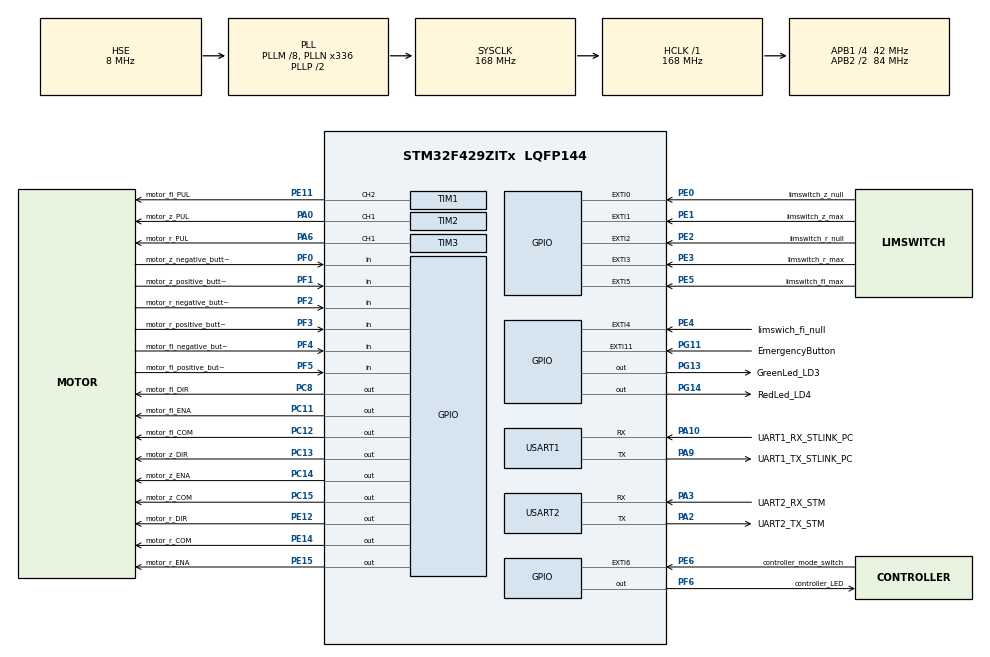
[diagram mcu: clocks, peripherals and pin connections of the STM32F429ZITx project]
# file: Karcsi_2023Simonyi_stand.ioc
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FREERTOS.INCLUDE_vTaskDelayUntil=1
FREERTOS.Queues01=demoMove_positions,15,ToolPosition,0,Dynamic,NULL,NULL
FREERTOS.Tasks01=indicator_blinking,3,256,fc_indicator_blinking,Default,(&error_byte),Dynamic,NULL,NULL;control_viaGPIO,3,2048,fc_control_viaGPIO,Default,stepperMotors,Dynamic,NULL,NULL;demoMove,3,2048,fc_demoMove,Default,stepperMotors,Dynamic,NULL,NULL
FREERTOS.configCHECK_FOR_STACK_OVERFLOW=2
FREERTOS.configMAX_TASK_NAME_LEN=255
FREERTOS.configTOTAL_HEAP_SIZE=32768
FREERTOS.configUSE_APPLICATION_TASK_TAG=1
FREERTOS.configUSE_COUNTING_SEMAPHORES=1
FREERTOS.configUSE_IDLE_HOOK=1
FREERTOS.configUSE_MALLOC_FAILED_HOOK=1
FREERTOS.configUSE_RECURSIVE_MUTEXES=1
FREERTOS.configUSE_TIMERS=0
Mcu.Family=STM32F4
Mcu.Name=STM32F429ZITx
Mcu.Package=LQFP144
NVIC.EXTI0_IRQn=true\:5\:0\:false\:false\:true\:true\:true\:true\:true
NVIC.EXTI15_10_IRQn=true\:5\:0\:false\:false\:true\:true\:true\:true\:true
NVIC.EXTI1_IRQn=true\:5\:0\:false\:false\:true\:true\:true\:true\:true
NVIC.EXTI2_IRQn=true\:5\:0\:false\:false\:true\:true\:true\:true\:true
NVIC.EXTI3_IRQn=true\:5\:0\:false\:false\:true\:true\:true\:true\:true
NVIC.EXTI4_IRQn=true\:5\:0\:false\:false\:true\:true\:true\:true\:true
NVIC.EXTI9_5_IRQn=true\:5\:0\:false\:false\:true\:true\:true\:true\:true
NVIC.PriorityGroup=NVIC_PRIORITYGROUP_4
NVIC.TIM1_BRK_TIM9_IRQn=true\:5\:0\:false\:false\:true\:true\:true\:true\:true
NVIC.TIM1_CC_IRQn=true\:5\:0\:false\:false\:true\:true\:true\:true\:true
NVIC.TIM1_TRG_COM_TIM11_IRQn=true\:5\:0\:false\:false\:true\:true\:true\:true\:true
NVIC.TIM1_UP_TIM10_IRQn=true\:5\:0\:false\:false\:true\:true\:true\:true\:true
NVIC.TIM2_IRQn=true\:5\:0\:false\:false\:true\:true\:true\:true\:true
NVIC.TIM3_IRQn=true\:5\:0\:false\:false\:true\:true\:true\:true\:true
NVIC.TIM6_DAC_IRQn=true\:15\:0\:false\:false\:true\:false\:false\:true\:true
NVIC.TimeBase=TIM6_DAC_IRQn
NVIC.TimeBaseIP=TIM6
PA0/WKUP.GPIO_Label=motor_z_PUL
PA0/WKUP.Signal=S_TIM2_CH1_ETR
PA10.GPIO_Label=UART1_RX_STLINK_PC
PA10.Mode=Asynchronous
PA10.Signal=USART1_RX
PA2.GPIO_Label=UART2_TX_STM
PA2.GPIO_Speed=GPIO_SPEED_FREQ_VERY_HIGH
PA2.Mode=Multiprocessor_communication
PA2.Signal=USART2_TX
PA3.GPIO_Label=UART2_RX_STM
PA3.Mode=Multiprocessor_communication
PA3.Signal=USART2_RX
PA6.GPIO_Label=motor_r_PUL
PA6.Signal=S_TIM3_CH1
PA9.GPIO_Label=UART1_TX_STLINK_PC
PA9.Mode=Asynchronous
PA9.Signal=USART1_TX
PC11.GPIO_Label=motor_fi_ENA
PC11.Signal=GPIO_Output
PC12.GPIO_Label=motor_fi_COM
PC12.Signal=GPIO_Output
PC13.GPIO_Label=motor_z_DIR
PC13.Signal=GPIO_Output
PC14/OSC32_IN.GPIO_Label=motor_z_ENA
PC14/OSC32_IN.Signal=GPIO_Output
PC15/OSC32_OUT.GPIO_Label=motor_z_COM
PC15/OSC32_OUT.Signal=GPIO_Output
PC8.GPIO_Label=motor_fi_DIR
PC8.Signal=GPIO_Output
PE0.GPIO_Label=limswitch_z_null
PE0.GPIO_ModeDefaultEXTI=GPIO_MODE_IT_RISING_FALLING
PE0.GPIO_PuPd=GPIO_PULLDOWN
PE0.Signal=GPXTI0
PE1.GPIO_Label=limswitch_z_max
PE1.GPIO_ModeDefaultEXTI=GPIO_MODE_IT_RISING_FALLING
PE1.GPIO_PuPd=GPIO_PULLDOWN
PE1.Signal=GPXTI1
PE11.GPIO_Label=motor_fi_PUL
PE11.GPIO_Speed=GPIO_SPEED_FREQ_HIGH
PE11.Signal=S_TIM1_CH2
PE12.GPIO_Label=motor_r_DIR
PE12.Signal=GPIO_Output
PE14.GPIO_Label=motor_r_COM
PE14.Signal=GPIO_Output
PE15.GPIO_Label=motor_r_ENA
PE15.Signal=GPIO_Output
PE2.GPIO_Label=limswitch_r_null
PE2.GPIO_ModeDefaultEXTI=GPIO_MODE_IT_RISING_FALLING
PE2.GPIO_PuPd=GPIO_PULLDOWN
PE2.Signal=GPXTI2
PE3.GPIO_Label=limswitch_r_max
PE3.GPIO_ModeDefaultEXTI=GPIO_MODE_IT_RISING_FALLING
PE3.GPIO_PuPd=GPIO_PULLDOWN
PE3.Signal=GPXTI3
PE4.GPIO_Label=limswich_fi_null
PE4.GPIO_ModeDefaultEXTI=GPIO_MODE_IT_RISING_FALLING
PE4.GPIO_PuPd=GPIO_PULLDOWN
PE4.Signal=GPXTI4
PE5.GPIO_Label=limswitch_fi_max
PE5.GPIO_ModeDefaultEXTI=GPIO_MODE_IT_RISING_FALLING
PE5.GPIO_PuPd=GPIO_PULLDOWN
PE5.Signal=GPXTI5
PE6.GPIO_Label=controller_mode_switch
PE6.GPIO_ModeDefaultEXTI=GPIO_MODE_IT_RISING
PE6.GPIO_PuPd=GPIO_PULLDOWN
PE6.Signal=GPXTI6
PF0.GPIO_Label=motor_z_negative_button
PF0.GPIO_PuPd=GPIO_PULLDOWN
PF0.Signal=GPIO_Input
PF1.GPIO_Label=motor_z_positive_button
PF1.GPIO_PuPd=GPIO_PULLDOWN
PF1.Signal=GPIO_Input
PF2.GPIO_Label=motor_r_negative_button
PF2.GPIO_PuPd=GPIO_PULLDOWN
PF2.Signal=GPIO_Input
PF3.GPIO_Label=motor_r_positive_button
PF3.GPIO_PuPd=GPIO_PULLDOWN
PF3.Signal=GPIO_Input
PF4.GPIO_Label=motor_fi_negative_button
PF4.GPIO_PuPd=GPIO_PULLDOWN
PF4.Signal=GPIO_Input
PF5.GPIO_Label=motor_fi_positive_button
PF5.GPIO_PuPd=GPIO_PULLDOWN
PF5.Signal=GPIO_Input
PF6.GPIO_Label=controller_LED
PF6.GPIO_ModeDefaultOutputPP=GPIO_MODE_OUTPUT_PP
PF6.GPIO_PuPd=GPIO_NOPULL
PF6.GPIO_Speed=GPIO_SPEED_FREQ_LOW
PF6.PinState=GPIO_PIN_RESET
PF6.Signal=GPIO_Output
PG11.GPIO_Label=EmergencyButton
PG11.GPIO_ModeDefaultEXTI=GPIO_MODE_IT_RISING_FALLING
PG11.Signal=GPXTI11
PG13.GPIO_Label=GreenLed_LD3
PG13.GPIO_Mode=GPIO_MODE_OUTPUT_PP
PG13.GPIO_PuPd=GPIO_PULLDOWN
PG13.GPIO_Speed=GPIO_SPEED_FREQ_LOW
PG13.Signal=GPIO_Output
PG14.GPIO_Label=RedLed_LD4
PG14.GPIO_Mode=GPIO_MODE_OUTPUT_PP
PG14.GPIO_PuPd=GPIO_PULLDOWN
PG14.GPIO_Speed=GPIO_SPEED_FREQ_LOW
PG14.Signal=GPIO_Output
PH0/OSC_IN.GPIO_Label=PH0-OSC_IN
PH0/OSC_IN.Mode=HSE-External-Oscillator
PH0/OSC_IN.Signal=RCC_OSC_IN
PH1/OSC_OUT.GPIO_Label=PH1-OSC_OUT
PH1/OSC_OUT.Mode=HSE-External-Oscillator
PH1/OSC_OUT.Signal=RCC_OSC_OUT
ProjectManager.HeapSize=0x200
ProjectManager.StackSize=0x400
ProjectManager.TargetToolchain=STM32CubeIDE
RCC.48MHZClocksFreq_Value=48000000
RCC.AHBFreq_Value=168000000
RCC.APB1CLKDivider=RCC_HCLK_DIV4
RCC.APB1Freq_Value=42000000
RCC.APB1TimFreq_Value=84000000
RCC.APB2CLKDivider=RCC_HCLK_DIV2
RCC.APB2Freq_Value=84000000
RCC.APB2TimFreq_Value=168000000
RCC.CortexFreq_Value=168000000
RCC.HCLKFreq_Value=168000000
RCC.HSE_VALUE=8000000
RCC.HSI_VALUE=16000000
RCC.LSE_VALUE=32768
RCC.PLLM=8
RCC.PLLN=336
RCC.PLLQ=7
RCC.PLLSAIN=50
RCC.PLLSourceVirtual=RCC_PLLSOURCE_HSE
RCC.SYSCLKFreq_VALUE=168000000
RCC.SYSCLKSource=RCC_SYSCLKSOURCE_PLLCLK
RCC.VCOOutputFreq_Value=336000000
SH.S_TIM1_CH2.0=TIM1_CH2,PWM Generation2 CH2
SH.S_TIM2_CH1_ETR.0=TIM2_CH1,PWM Generation1 CH1
SH.S_TIM3_CH1.0=TIM3_CH1,PWM Generation1 CH1
TIM1.Channel-PWM\ Generation2\ CH2=TIM_CHANNEL_2
TIM1.ClockDivision=TIM_CLOCKDIVISION_DIV1
TIM1.CounterMode=TIM_COUNTERMODE_UP
TIM1.OCMode_PWM-PWM\ Generation2\ CH2=TIM_OCMODE_PWM2
TIM1.Period=1000-1
TIM1.Prescaler=84-1
TIM1.Pulse-PWM\ Generation2\ CH2=499
TIM1.RepetitionCounter=0
TIM1.TIM_MasterOutputTrigger=TIM_TRGO_RESET
TIM2.Channel-PWM\ Generation1\ CH1=TIM_CHANNEL_1
TIM2.CounterMode=TIM_COUNTERMODE_UP
TIM2.OCMode_PWM-PWM\ Generation1\ CH1=TIM_OCMODE_PWM2
TIM2.Period=1000-1
TIM2.Prescaler=84-1
TIM2.Pulse-PWM\ Generation1\ CH1=499
TIM2.TIM_MasterOutputTrigger=TIM_TRGO_RESET
TIM3.Channel-PWM\ Generation1\ CH1=TIM_CHANNEL_1
TIM3.OCMode_PWM-PWM\ Generation1\ CH1=TIM_OCMODE_PWM2
TIM3.Period=1000-1
TIM3.Prescaler=168-1
TIM3.Pulse-PWM\ Generation1\ CH1=499
USART1.VirtualMode=VM_ASYNC
USART2.VirtualMode=VM_ASYNC
VP_FREERTOS_VS_CMSIS_V1.Mode=CMSIS_V1
VP_SYS_VS_tim6.Mode=TIM6
VP_TIM1_VS_ClockSourceINT.Mode=Internal
VP_TIM2_VS_ClockSourceINT.Mode=Internal
VP_TIM3_VS_ClockSourceINT.Mode=Internal
board=STM32F429I-DISC1

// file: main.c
/* USER CODE BEGIN Header */
/**
  ******************************************************************************
  * @file           : main.c
  * @brief          : Main program body
  ******************************************************************************
  *
  ******************************************************************************
  */
/* USER CODE END Header */
#include "main.h"
#include "cmsis_os.h"

/* USER CODE BEGIN Includes */
#include "StepperMotorControll.h"
#include <math.h>
/* USER CODE END Includes */

/* USER CODE BEGIN PD */

/**
 * Defines for indexing limit_switches[] array
 */
#define fi_max 1
#define fi_null 2
#define z_max 3
#define z_null 4
#define r_max 5
#define r_null 6

/* USER CODE END PD */

TIM_HandleTypeDef htim1;
TIM_HandleTypeDef htim2;
TIM_HandleTypeDef htim3;

UART_HandleTypeDef huart1;
UART_HandleTypeDef huart2;

osThreadId indicator_blinkingHandle;
osThreadId control_viaGPIOHandle;
osThreadId demoMoveHandle;
osMessageQId demoMove_positionsHandle;
/* USER CODE BEGIN PV */

/**
 * Array that contains the motor structs, offers easy acccess to motor variables
 */
static StepperMotor stepperMotors[NUMBER_OF_MOTORS];

/**
 * Pinstates of the limit switches:
 * limit_switches[0] : NOT IN USE, because of tricky indexing
 * limit_switches[1] : switch at the FI axis' maximum point (rotated all the way clockwise)
 * limit_switches[2] : switch at the FI axis' zero point (when the arm is rotated all the way counter-clockwise)
 * limit_switches[3] : switch at the Z axis' maximum point (lower sitch on the Z axis)
 * limit_switches[4] : switch at the Z axis' zero point (upper switch on the Z axis)
 * limit_switches[5] : switch at the R axis' maximum point (the arm reaches the furthest)
 * limit_switches[6] : switch at the R axis' zero ponit (when the arm is fully retracted)
 */
static volatile GPIO_PinState limit_switches[7];

/**
 * In the beginning of the two tasks there is a HOMING section.
 * In this section all of the motors has been set to negative direction and has been started to reach the (0, 0, 0) point
 * of the coordinate system. If a problem occours while starting the motors this variable gets the error value.
 * Indicator_blinking task starts to blink a red LED on the board if this variable isn't zero in order to inform you about the problem.
 */
static uint8_t error_byte = 0;

/**
 * This flag is true, if the HOMING has already run. Zero if HOMING is still needed.
 */
static uint8_t homing_state = 0;

static volatile ToolPosition current_position;

/**
 * Positions for demoMove task (Simonyi conference demo program)
 */
const ToolPosition Pos1 = (ToolPosition){.fi = 0, .z = 0, .r = 0};
const ToolPosition Pos2 = (ToolPosition){.fi = 4000, .z = 4000, .r = 400};
const ToolPosition Pos3 = (ToolPosition){.fi = 9000, .z = 7000, .r = 0};
const ToolPosition Pos4 = (ToolPosition){.fi = 13874, .z = 10000, .r = 900};
const ToolPosition Pos5 = (ToolPosition){.fi = 6000, .z = 5000, .r = 200};

/**
 * GPIO pin variables for control_viaGPIO task
 */
/*
GPIO_PIN r_positive_button = (GPIO_PIN){.GPIO_Port = motor_r_positive_button_GPIO_Port, .GPIO_Pin = motor_r_positive_button_Pin};
GPIO_PIN r_negative_button = (GPIO_PIN){.GPIO_Port = motor_r_negative_button_GPIO_Port, .GPIO_Pin = motor_r_negative_button_Pin};
GPIO_PIN fi_positive_button = (GPIO_PIN){.GPIO_Port = motor_fi_positive_button_GPIO_Port, .GPIO_Pin = motor_fi_positive_button_Pin};
GPIO_PIN fi_negative_button = (GPIO_PIN){.GPIO_Port = motor_fi_negative_button_GPIO_Port, .GPIO_Pin = motor_fi_negative_button_Pin};
GPIO_PIN z_positive_button = (GPIO_PIN){.GPIO_Port = motor_z_positive_button_GPIO_Port, .GPIO_Pin = motor_z_positive_button_Pin};
GPIO_PIN z_negative_button = (GPIO_PIN){.GPIO_Port = motor_z_negative_button_GPIO_Port, .GPIO_Pin = motor_z_negative_button_Pin};
*/

/**
 * Task flag to know which one is active right now:
 *  - ZERO: control_viaGPIO is active
 *  - ONE: demoMove is active
 */
static volatile uint8_t task_flag = 0;

/* USER CODE END PV */

void SystemClock_Config(void);
static void MX_GPIO_Init(void);
static void MX_USART1_UART_Init(void);
static void MX_TIM1_Init(void);
static void MX_USART2_UART_Init(void);
static void MX_TIM2_Init(void);
static void MX_TIM3_Init(void);
void fc_indicator_blinking(void const * argument);
void fc_control_viaGPIO(void const * argument);
void fc_demoMove(void const * argument);

int main(void)
{

  /* MCU Configuration--------------------------------------------------------*/

  /* Reset of all peripherals, Initializes the Flash interface and the Systick. */
  HAL_Init();

  /* Configure the system clock */
  SystemClock_Config();

  /* Initialize all configured peripherals */
  MX_GPIO_Init();
  MX_USART1_UART_Init();
  MX_TIM1_Init();
  MX_USART2_UART_Init();
  MX_TIM2_Init();
  MX_TIM3_Init();

  /* Create the queue(s) */
  /* definition and creation of demoMove_positions */
  osMessageQDef(demoMove_positions, 15, ToolPosition);
  demoMove_positionsHandle = osMessageCreate(osMessageQ(demoMove_positions), NULL);

  /* USER CODE BEGIN RTOS_QUEUES */

  //Push the demo positions in a queue
  xQueueSend(demoMove_positionsHandle, (void*)&Pos1, 0);
  xQueueSend(demoMove_positionsHandle, (void*)&Pos2, 0);
  xQueueSend(demoMove_positionsHandle, (void*)&Pos3, 0);
  xQueueSend(demoMove_positionsHandle, (void*)&Pos4, 0);
  xQueueSend(demoMove_positionsHandle, (void*)&Pos5, 0);
  /* USER CODE END RTOS_QUEUES */

  /* Create the thread(s) */
  /* definition and creation of indicator_blinking */
  osThreadDef(indicator_blinking, fc_indicator_blinking, osPriorityRealtime, 0, 256);
  indicator_blinkingHandle = osThreadCreate(osThread(indicator_blinking), (void*) (&error_byte));

  /* definition and creation of control_viaGPIO */
  osThreadDef(control_viaGPIO, fc_control_viaGPIO, osPriorityRealtime, 0, 2048);
  control_viaGPIOHandle = osThreadCreate(osThread(control_viaGPIO), (void*) stepperMotors);

  /* definition and creation of demoMove */
  osThreadDef(demoMove, fc_demoMove, osPriorityRealtime, 0, 2048);
  demoMoveHandle = osThreadCreate(osThread(demoMove), (void*) stepperMotors);

  /* USER CODE BEGIN RTOS_THREADS */

  //The program starts in GPIO control mode
  vTaskSuspend(demoMoveHandle);

  /* USER CODE END RTOS_THREADS */

  /* Start scheduler */
  osKernelStart();

  /* We should never get here as control is now taken by the scheduler */
  /* Infinite loop */
  while (1)
  {

  }
}

void SystemClock_Config(void)
{
  RCC_OscInitTypeDef RCC_OscInitStruct = {0};
  RCC_ClkInitTypeDef RCC_ClkInitStruct = {0};

  /** Configure the main internal regulator output voltage
  */
  __HAL_RCC_PWR_CLK_ENABLE();
  __HAL_PWR_VOLTAGESCALING_CONFIG(PWR_REGULATOR_VOLTAGE_SCALE1);

  /** Initializes the RCC Oscillators according to the specified parameters
  * in the RCC_OscInitTypeDef structure.
  */
  RCC_OscInitStruct.OscillatorType = RCC_OSCILLATORTYPE_HSE;
  RCC_OscInitStruct.HSEState = RCC_HSE_ON;
  RCC_OscInitStruct.PLL.PLLState = RCC_PLL_ON;
  RCC_OscInitStruct.PLL.PLLSource = RCC_PLLSOURCE_HSE;
  RCC_OscInitStruct.PLL.PLLM = 8;
  RCC_OscInitStruct.PLL.PLLN = 336;
  RCC_OscInitStruct.PLL.PLLP = RCC_PLLP_DIV2;
  RCC_OscInitStruct.PLL.PLLQ = 7;
  if (HAL_RCC_OscConfig(&RCC_OscInitStruct) != HAL_OK)
  {
    Error_Handler();
  }

  /** Initializes the CPU, AHB and APB buses clocks
  */
  RCC_ClkInitStruct.ClockType = RCC_CLOCKTYPE_HCLK|RCC_CLOCKTYPE_SYSCLK
                              |RCC_CLOCKTYPE_PCLK1|RCC_CLOCKTYPE_PCLK2;
  RCC_ClkInitStruct.SYSCLKSource = RCC_SYSCLKSOURCE_PLLCLK;
  RCC_ClkInitStruct.AHBCLKDivider = RCC_SYSCLK_DIV1;
  RCC_ClkInitStruct.APB1CLKDivider = RCC_HCLK_DIV4;
  RCC_ClkInitStruct.APB2CLKDivider = RCC_HCLK_DIV2;

  if (HAL_RCC_ClockConfig(&RCC_ClkInitStruct, FLASH_LATENCY_5) != HAL_OK)
  {
    Error_Handler();
  }
}

static void MX_TIM1_Init(void)
{

  TIM_ClockConfigTypeDef sClockSourceConfig = {0};
  TIM_MasterConfigTypeDef sMasterConfig = {0};
  TIM_OC_InitTypeDef sConfigOC = {0};
  TIM_BreakDeadTimeConfigTypeDef sBreakDeadTimeConfig = {0};

  htim1.Instance = TIM1;
  htim1.Init.Prescaler = 84-1;
  htim1.Init.CounterMode = TIM_COUNTERMODE_UP;
  htim1.Init.Period = 1000-1;
  htim1.Init.ClockDivision = TIM_CLOCKDIVISION_DIV1;
  htim1.Init.RepetitionCounter = 0;
  htim1.Init.AutoReloadPreload = TIM_AUTORELOAD_PRELOAD_DISABLE;
  if (HAL_TIM_Base_Init(&htim1) != HAL_OK)
  {
    Error_Handler();
  }
  sClockSourceConfig.ClockSource = TIM_CLOCKSOURCE_INTERNAL;
  if (HAL_TIM_ConfigClockSource(&htim1, &sClockSourceConfig) != HAL_OK)
  {
    Error_Handler();
  }
  if (HAL_TIM_PWM_Init(&htim1) != HAL_OK)
  {
    Error_Handler();
  }
  sMasterConfig.MasterOutputTrigger = TIM_TRGO_RESET;
  sMasterConfig.MasterSlaveMode = TIM_MASTERSLAVEMODE_DISABLE;
  if (HAL_TIMEx_MasterConfigSynchronization(&htim1, &sMasterConfig) != HAL_OK)
  {
    Error_Handler();
  }
  sConfigOC.OCMode = TIM_OCMODE_PWM2;
  sConfigOC.Pulse = 499;
  sConfigOC.OCPolarity = TIM_OCPOLARITY_HIGH;
  sConfigOC.OCNPolarity = TIM_OCNPOLARITY_HIGH;
  sConfigOC.OCFastMode = TIM_OCFAST_DISABLE;
  sConfigOC.OCIdleState = TIM_OCIDLESTATE_RESET;
  sConfigOC.OCNIdleState = TIM_OCNIDLESTATE_RESET;
  if (HAL_TIM_PWM_ConfigChannel(&htim1, &sConfigOC, TIM_CHANNEL_2) != HAL_OK)
  {
    Error_Handler();
  }
  sBreakDeadTimeConfig.OffStateRunMode = TIM_OSSR_DISABLE;
  sBreakDeadTimeConfig.OffStateIDLEMode = TIM_OSSI_DISABLE;
  sBreakDeadTimeConfig.LockLevel = TIM_LOCKLEVEL_OFF;
  sBreakDeadTimeConfig.DeadTime = 0;
  sBreakDeadTimeConfig.BreakState = TIM_BREAK_DISABLE;
  sBreakDeadTimeConfig.BreakPolarity = TIM_BREAKPOLARITY_HIGH;
  sBreakDeadTimeConfig.AutomaticOutput = TIM_AUTOMATICOUTPUT_DISABLE;
  if (HAL_TIMEx_ConfigBreakDeadTime(&htim1, &sBreakDeadTimeConfig) != HAL_OK)
  {
    Error_Handler();
  }
  HAL_TIM_MspPostInit(&htim1);

}

static void MX_TIM2_Init(void)
{

  TIM_ClockConfigTypeDef sClockSourceConfig = {0};
  TIM_MasterConfigTypeDef sMasterConfig = {0};
  TIM_OC_InitTypeDef sConfigOC = {0};

  htim2.Instance = TIM2;
  htim2.Init.Prescaler = 84-1;
  htim2.Init.CounterMode = TIM_COUNTERMODE_UP;
  htim2.Init.Period = 1000-1;
  htim2.Init.ClockDivision = TIM_CLOCKDIVISION_DIV1;
  htim2.Init.AutoReloadPreload = TIM_AUTORELOAD_PRELOAD_DISABLE;
  if (HAL_TIM_Base_Init(&htim2) != HAL_OK)
  {
    Error_Handler();
  }
  sClockSourceConfig.ClockSource = TIM_CLOCKSOURCE_INTERNAL;
  if (HAL_TIM_ConfigClockSource(&htim2, &sClockSourceConfig) != HAL_OK)
  {
    Error_Handler();
  }
  if (HAL_TIM_PWM_Init(&htim2) != HAL_OK)
  {
    Error_Handler();
  }
  sMasterConfig.MasterOutputTrigger = TIM_TRGO_RESET;
  sMasterConfig.MasterSlaveMode = TIM_MASTERSLAVEMODE_DISABLE;
  if (HAL_TIMEx_MasterConfigSynchronization(&htim2, &sMasterConfig) != HAL_OK)
  {
    Error_Handler();
  }
  sConfigOC.OCMode = TIM_OCMODE_PWM2;
  sConfigOC.Pulse = 499;
  sConfigOC.OCPolarity = TIM_OCPOLARITY_HIGH;
  sConfigOC.OCFastMode = TIM_OCFAST_DISABLE;
  if (HAL_TIM_PWM_ConfigChannel(&htim2, &sConfigOC, TIM_CHANNEL_1) != HAL_OK)
  {
    Error_Handler();
  }
  HAL_TIM_MspPostInit(&htim2);

}

static void MX_TIM3_Init(void)
{

  TIM_ClockConfigTypeDef sClockSourceConfig = {0};
  TIM_MasterConfigTypeDef sMasterConfig = {0};
  TIM_OC_InitTypeDef sConfigOC = {0};

  htim3.Instance = TIM3;
  htim3.Init.Prescaler = 168-1;
  htim3.Init.CounterMode = TIM_COUNTERMODE_UP;
  htim3.Init.Period = 1000-1;
  htim3.Init.ClockDivision = TIM_CLOCKDIVISION_DIV1;
  htim3.Init.AutoReloadPreload = TIM_AUTORELOAD_PRELOAD_DISABLE;
  if (HAL_TIM_Base_Init(&htim3) != HAL_OK)
  {
    Error_Handler();
  }
  sClockSourceConfig.ClockSource = TIM_CLOCKSOURCE_INTERNAL;
  if (HAL_TIM_ConfigClockSource(&htim3, &sClockSourceConfig) != HAL_OK)
  {
    Error_Handler();
  }
  if (HAL_TIM_PWM_Init(&htim3) != HAL_OK)
  {
    Error_Handler();
  }
  sMasterConfig.MasterOutputTrigger = TIM_TRGO_RESET;
  sMasterConfig.MasterSlaveMode = TIM_MASTERSLAVEMODE_DISABLE;
  if (HAL_TIMEx_MasterConfigSynchronization(&htim3, &sMasterConfig) != HAL_OK)
  {
    Error_Handler();
  }
  sConfigOC.OCMode = TIM_OCMODE_PWM2;
  sConfigOC.Pulse = 499;
  sConfigOC.OCPolarity = TIM_OCPOLARITY_HIGH;
  sConfigOC.OCFastMode = TIM_OCFAST_DISABLE;
  if (HAL_TIM_PWM_ConfigChannel(&htim3, &sConfigOC, TIM_CHANNEL_1) != HAL_OK)
  {
    Error_Handler();
  }
  HAL_TIM_MspPostInit(&htim3);

}

static void MX_USART1_UART_Init(void)
{

  huart1.Instance = USART1;
  huart1.Init.BaudRate = 115200;
  huart1.Init.WordLength = UART_WORDLENGTH_8B;
  huart1.Init.StopBits = UART_STOPBITS_1;
  huart1.Init.Parity = UART_PARITY_NONE;
  huart1.Init.Mode = UART_MODE_TX_RX;
  huart1.Init.HwFlowCtl = UART_HWCONTROL_NONE;
  huart1.Init.OverSampling = UART_OVERSAMPLING_16;
  if (HAL_UART_Init(&huart1) != HAL_OK)
  {
    Error_Handler();
  }

}

static void MX_USART2_UART_Init(void)
{

  huart2.Instance = USART2;
  huart2.Init.BaudRate = 115200;
  huart2.Init.WordLength = UART_WORDLENGTH_8B;
  huart2.Init.StopBits = UART_STOPBITS_1;
  huart2.Init.Parity = UART_PARITY_NONE;
  huart2.Init.Mode = UART_MODE_TX_RX;
  huart2.Init.HwFlowCtl = UART_HWCONTROL_NONE;
  huart2.Init.OverSampling = UART_OVERSAMPLING_16;
  if (HAL_MultiProcessor_Init(&huart2, 0, UART_WAKEUPMETHOD_IDLELINE) != HAL_OK)
  {
    Error_Handler();
  }

}

static void MX_GPIO_Init(void)
{
  GPIO_InitTypeDef GPIO_InitStruct = {0};

  /* GPIO Ports Clock Enable */
  __HAL_RCC_GPIOE_CLK_ENABLE();
  __HAL_RCC_GPIOC_CLK_ENABLE();
  __HAL_RCC_GPIOF_CLK_ENABLE();
  __HAL_RCC_GPIOH_CLK_ENABLE();
  __HAL_RCC_GPIOA_CLK_ENABLE();
  __HAL_RCC_GPIOG_CLK_ENABLE();

  /*Configure GPIO pin Output Level */
  HAL_GPIO_WritePin(GPIOC, motor_z_DIR_Pin|motor_z_ENA_Pin|motor_z_COM_Pin|motor_fi_DIR_Pin
                          |motor_fi_ENA_Pin|motor_fi_COM_Pin, GPIO_PIN_RESET);

  /*Configure GPIO pin Output Level */
  HAL_GPIO_WritePin(controller_LED_GPIO_Port, controller_LED_Pin, GPIO_PIN_RESET);

  /*Configure GPIO pin Output Level */
  HAL_GPIO_WritePin(GPIOE, motor_r_DIR_Pin|motor_r_COM_Pin|motor_r_ENA_Pin, GPIO_PIN_RESET);

  /*Configure GPIO pin Output Level */
  HAL_GPIO_WritePin(GPIOG, GreenLed_LD3_Pin|RedLed_LD4_Pin, GPIO_PIN_RESET);

  /*Configure GPIO pins : limswitch_r_null_Pin limswitch_r_max_Pin limswich_fi_null_Pin limswitch_fi_max_Pin
                           limswitch_z_null_Pin limswitch_z_max_Pin */
  GPIO_InitStruct.Pin = limswitch_r_null_Pin|limswitch_r_max_Pin|limswich_fi_null_Pin|limswitch_fi_max_Pin
                          |limswitch_z_null_Pin|limswitch_z_max_Pin;
  GPIO_InitStruct.Mode = GPIO_MODE_IT_RISING_FALLING;
  GPIO_InitStruct.Pull = GPIO_PULLDOWN;
  HAL_GPIO_Init(GPIOE, &GPIO_InitStruct);

  /*Configure GPIO pin : controller_mode_switch_Pin */
  GPIO_InitStruct.Pin = controller_mode_switch_Pin;
  GPIO_InitStruct.Mode = GPIO_MODE_IT_RISING;
  GPIO_InitStruct.Pull = GPIO_PULLDOWN;
  HAL_GPIO_Init(controller_mode_switch_GPIO_Port, &GPIO_InitStruct);

  /*Configure GPIO pins : motor_z_DIR_Pin motor_z_ENA_Pin motor_z_COM_Pin motor_fi_DIR_Pin
                           motor_fi_ENA_Pin motor_fi_COM_Pin */
  GPIO_InitStruct.Pin = motor_z_DIR_Pin|motor_z_ENA_Pin|motor_z_COM_Pin|motor_fi_DIR_Pin
                          |motor_fi_ENA_Pin|motor_fi_COM_Pin;
  GPIO_InitStruct.Mode = GPIO_MODE_OUTPUT_PP;
  GPIO_InitStruct.Pull = GPIO_NOPULL;
  GPIO_InitStruct.Speed = GPIO_SPEED_FREQ_LOW;
  HAL_GPIO_Init(GPIOC, &GPIO_InitStruct);

  /*Configure GPIO pins : motor_z_negative_button_Pin motor_z_positive_button_Pin motor_r_negative_button_Pin motor_r_positive_button_Pin
                           motor_fi_negative_button_Pin motor_fi_positive_button_Pin */
  GPIO_InitStruct.Pin = motor_z_negative_button_Pin|motor_z_positive_button_Pin|motor_r_negative_button_Pin|motor_r_positive_button_Pin
                          |motor_fi_negative_button_Pin|motor_fi_positive_button_Pin;
  GPIO_InitStruct.Mode = GPIO_MODE_INPUT;
  GPIO_InitStruct.Pull = GPIO_PULLDOWN;
  HAL_GPIO_Init(GPIOF, &GPIO_InitStruct);

  /*Configure GPIO pin : controller_LED_Pin */
  GPIO_InitStruct.Pin = controller_LED_Pin;
  GPIO_InitStruct.Mode = GPIO_MODE_OUTPUT_PP;
  GPIO_InitStruct.Pull = GPIO_NOPULL;
  GPIO_InitStruct.Speed = GPIO_SPEED_FREQ_LOW;
  HAL_GPIO_Init(controller_LED_GPIO_Port, &GPIO_InitStruct);

  /*Configure GPIO pins : motor_r_DIR_Pin motor_r_COM_Pin motor_r_ENA_Pin */
  GPIO_InitStruct.Pin = motor_r_DIR_Pin|motor_r_COM_Pin|motor_r_ENA_Pin;
  GPIO_InitStruct.Mode = GPIO_MODE_OUTPUT_PP;
  GPIO_InitStruct.Pull = GPIO_NOPULL;
  GPIO_InitStruct.Speed = GPIO_SPEED_FREQ_LOW;
  HAL_GPIO_Init(GPIOE, &GPIO_InitStruct);

  /*Configure GPIO pin : EmergencyButton_Pin */
  GPIO_InitStruct.Pin = EmergencyButton_Pin;
  GPIO_InitStruct.Mode = GPIO_MODE_IT_RISING_FALLING;
  GPIO_InitStruct.Pull = GPIO_NOPULL;
  HAL_GPIO_Init(EmergencyButton_GPIO_Port, &GPIO_InitStruct);

  /*Configure GPIO pins : GreenLed_LD3_Pin RedLed_LD4_Pin */
  GPIO_InitStruct.Pin = GreenLed_LD3_Pin|RedLed_LD4_Pin;
  GPIO_InitStruct.Mode = GPIO_MODE_OUTPUT_PP;
  GPIO_InitStruct.Pull = GPIO_PULLDOWN;
  GPIO_InitStruct.Speed = GPIO_SPEED_FREQ_LOW;
  HAL_GPIO_Init(GPIOG, &GPIO_InitStruct);

  /* EXTI interrupt init*/
  HAL_NVIC_SetPriority(EXTI0_IRQn, 5, 0);
  HAL_NVIC_EnableIRQ(EXTI0_IRQn);

  HAL_NVIC_SetPriority(EXTI1_IRQn, 5, 0);
  HAL_NVIC_EnableIRQ(EXTI1_IRQn);

  HAL_NVIC_SetPriority(EXTI2_IRQn, 5, 0);
  HAL_NVIC_EnableIRQ(EXTI2_IRQn);

  HAL_NVIC_SetPriority(EXTI3_IRQn, 5, 0);
  HAL_NVIC_EnableIRQ(EXTI3_IRQn);

  HAL_NVIC_SetPriority(EXTI4_IRQn, 5, 0);
  HAL_NVIC_EnableIRQ(EXTI4_IRQn);

  HAL_NVIC_SetPriority(EXTI9_5_IRQn, 5, 0);
  HAL_NVIC_EnableIRQ(EXTI9_5_IRQn);

  HAL_NVIC_SetPriority(EXTI15_10_IRQn, 5, 0);
  HAL_NVIC_EnableIRQ(EXTI15_10_IRQn);

}

/* USER CODE BEGIN 4 */
/*
 * In case of EXTI, one of the limit switches turn on which means the arm is on the edge.
 * To prevent further movement, the axis' motor turns off and stepperMotors[].currPos is updated.
 *
 * There is an exception though, when the mode button (the red button on the controller) triggers IT.
 * In this case the task_flag variable and the state of the LED on the controller toogles.
 * The LED is on when the demoMove task is active.
 */
void HAL_GPIO_EXTI_Callback(uint16_t GPIO_Pin){
	switch (GPIO_Pin){
		case controller_mode_switch_Pin:{
			if(task_flag){
				task_flag = 0;
				HAL_GPIO_WritePin(controller_LED_GPIO_Port, controller_LED_Pin, task_flag);
			}
			else{
				task_flag = 1;
				HAL_GPIO_WritePin(controller_LED_GPIO_Port, controller_LED_Pin, task_flag);
			}
		}
		case limswitch_z_null_Pin:{
			limit_switches[z_null] = HAL_GPIO_ReadPin(limswitch_z_null_GPIO_Port, limswitch_z_null_Pin);
			if(limit_switches[z_null]){
				current_position.z = 0;
				stepperMotors[MOTOR_Z_ID].allowedDir = MOTORALLOW_POSDIR;
			}
			else{
				stepperMotors[MOTOR_Z_ID].allowedDir = MOTORALLOW_BOTHDIR;
			}
			break;
		}
		case limswitch_z_max_Pin:{
			limit_switches[z_max] = HAL_GPIO_ReadPin(limswitch_z_max_GPIO_Port, limswitch_z_max_Pin);
			if(limit_switches[z_max]){
				current_position.z = MOTOR_Z_MAXPOS;
				stepperMotors[MOTOR_Z_ID].allowedDir = MOTORALLOW_NEGDIR;
			}
			else{
				stepperMotors[MOTOR_Z_ID].allowedDir = MOTORALLOW_BOTHDIR;
			}
			break;
		}
		case limswitch_r_null_Pin:{
			limit_switches[r_null] = HAL_GPIO_ReadPin(limswitch_r_null_GPIO_Port, limswitch_r_null_Pin);
			if(limit_switches[r_null]){
				current_position.r = 0;
				stepperMotors[MOTOR_R_ID].allowedDir = MOTORALLOW_POSDIR;
			}
			else{
				stepperMotors[MOTOR_R_ID].allowedDir = MOTORALLOW_BOTHDIR;
			}
			break;
		}
		case limswitch_r_max_Pin:{
			limit_switches[r_max] = HAL_GPIO_ReadPin(limswitch_r_max_GPIO_Port, limswitch_r_max_Pin);
			if(limit_switches[r_max]){
				current_position.r = MOTOR_R_MAXPOS;
				stepperMotors[MOTOR_R_ID].allowedDir = MOTORALLOW_NEGDIR;
			}
			else{
				stepperMotors[MOTOR_R_ID].allowedDir = MOTORALLOW_BOTHDIR;
			}
			break;
		}
		case limswich_fi_null_Pin:{
			limit_switches[fi_null] = HAL_GPIO_ReadPin(limswich_fi_null_GPIO_Port, limswich_fi_null_Pin);
			if(limit_switches[fi_null]){
				current_position.fi = 0;
				stepperMotors[MOTOR_FI_ID].allowedDir = MOTORALLOW_POSDIR;
			}
			else{
				stepperMotors[MOTOR_FI_ID].allowedDir = MOTORALLOW_BOTHDIR;
			}
			break;
		}
		case limswitch_fi_max_Pin:{
			limit_switches[fi_max] = HAL_GPIO_ReadPin(limswitch_fi_max_GPIO_Port, limswitch_fi_max_Pin);
			if(limit_switches[fi_max]){
				current_position.fi = MOTOR_FI_MAXPOS;
				stepperMotors[MOTOR_FI_ID].allowedDir = MOTORALLOW_NEGDIR;
			}
			else{
				stepperMotors[MOTOR_FI_ID].allowedDir = MOTORALLOW_BOTHDIR;
			}
			break;
		}
	}
}

/*
 * TIM1, TIM2 and TIM3 control the motors with PWM signals. Every rising edge of a PWM signal triggers a timer IT.
 * This handler increases or decreases the current position value of the appropriate motor depending on it's direction.
 * This way I don't need encoders to know where is the arm in the coordinate system.
 */
void HAL_TIM_PWM_PulseFinishedCallback(TIM_HandleTypeDef *htim){
	if(htim->Instance == TIM1) {
		if(MOTORDIR_NEGATIVE == stepperMotors[MOTOR_FI_ID].dir){
		  current_position.fi--;
		}
		else if(MOTORDIR_POSITIVE == stepperMotors[MOTOR_FI_ID].dir){
		  current_position.fi++;
		}
	}
	if(htim->Instance == TIM2) {
		if(MOTORDIR_NEGATIVE == stepperMotors[MOTOR_Z_ID].dir){
		  current_position.z--;
		}
		else if(MOTORDIR_POSITIVE == stepperMotors[MOTOR_Z_ID].dir){
		  current_position.z++;
		}
	}
	if(htim->Instance == TIM3) {
		if(MOTORDIR_NEGATIVE == stepperMotors[MOTOR_R_ID].dir){
		  current_position.r--;
		}
		else if(MOTORDIR_POSITIVE == stepperMotors[MOTOR_R_ID].dir){
		  current_position.r++;
		}
	}
}
/* USER CODE END 4 */

/* USER CODE BEGIN Header_fc_indicator_blinking */
/**
  * @brief  Function implementing the indicator_blinking thread.
  * @param  argument: Not used
  * @retval None
  *
  * This task is only used for debugging. If error_byte variable isn't zero, the red LED on the board starts blinking,
  * if everything is OK, then a green LED blinks.
  */
/* USER CODE END Header_fc_indicator_blinking */
void fc_indicator_blinking(void const * argument)
{
  /* USER CODE BEGIN 5 */
  /* Infinite loop */
  for(;;)
  {
	  if(error_byte){
		  HAL_GPIO_WritePin(RedLed_LD4_GPIO_Port, RedLed_LD4_Pin, 1);
		  osDelay(200);
		  HAL_GPIO_WritePin(RedLed_LD4_GPIO_Port, RedLed_LD4_Pin, 0);
		  osDelay(200);
	  }
	  else{
		  HAL_GPIO_WritePin(GreenLed_LD3_GPIO_Port, GreenLed_LD3_Pin, 1);
		  osDelay(1000);
		  HAL_GPIO_WritePin(GreenLed_LD3_GPIO_Port, GreenLed_LD3_Pin, 0);
		  osDelay(1000);
	  }
  }
  /* USER CODE END 5 */
}

/* USER CODE BEGIN Header_fc_control_viaGPIO */
/**
* @brief Function implementing the control_viaGPIOI thread.
* @param argument: Pointer to the array of the stepper motors
* @retval None
*
*This task allows users to controll the arm via a controller.
* The controller has 6 black buttons, each axis can be manipulated with two of them.
* Note that pushing both of the buttons of an axis at the same time isn't a problem, because in this case the task stops the motor.
* Beside the software restrictions, there are 6 limit switches fixed on the arm. Each one generates a GPIO IT,
* if it gets switched on. Tte interrupt handler stops the appropriate motor and won't allow the user to move the arm beyond its limitations.
*/
/* USER CODE END Header_fc_control_viaGPIO */
void fc_control_viaGPIO(void const * argument)
{
  /* USER CODE BEGIN fc_control_viaGPIO */

	//LIMIT SWITCH INIT --------------------------------------------------------------//
	limit_switches[1] = HAL_GPIO_ReadPin(limswitch_fi_max_GPIO_Port, limswitch_fi_max_Pin);
	limit_switches[2] = HAL_GPIO_ReadPin(limswich_fi_null_GPIO_Port, limswich_fi_null_Pin);
	limit_switches[3] = HAL_GPIO_ReadPin(limswitch_z_max_GPIO_Port, limswitch_z_max_Pin);
	limit_switches[4] = HAL_GPIO_ReadPin(limswitch_z_null_GPIO_Port, limswitch_z_null_Pin);
	limit_switches[5] = HAL_GPIO_ReadPin(limswitch_r_max_GPIO_Port, limswitch_r_max_Pin);
	limit_switches[6] = HAL_GPIO_ReadPin(limswitch_r_null_GPIO_Port, limswitch_r_null_Pin);

	//MOTOR INIT ------------------------------------------------------------------//
	StepperMotor* stepperMotors = (StepperMotor*)argument;
	stepperMotors[MOTOR_FI_ID] = (StepperMotor) {
			.ID = MOTOR_FI_ID,
			.allowedDir = MOTORALLOW_BOTHDIR,
			.motorState = MOTORSTATE_STOPPED,

			.TIM_CH = TIM_CHANNEL_2,	//PE11
			.TIM = &htim1,

			.enablePORT = motor_fi_ENA_GPIO_Port,  //PC11
			.enablePIN = motor_fi_ENA_Pin,

			.dirPORT = motor_fi_DIR_GPIO_Port,	//PC8
			.dirPIN = motor_fi_DIR_Pin,
	};
	stepperMotors[MOTOR_Z_ID] = (StepperMotor) {
			.ID = MOTOR_Z_ID,
			.allowedDir = MOTORALLOW_BOTHDIR,
			.motorState = MOTORSTATE_STOPPED,

			.TIM_CH = TIM_CHANNEL_1,	//PA0
			.TIM = &htim2,

			.enablePORT = motor_z_ENA_GPIO_Port,	//PC14
			.enablePIN = motor_z_ENA_Pin,

			.dirPORT = motor_z_DIR_GPIO_Port,	//PC13
			.dirPIN = motor_z_DIR_Pin,
	};
	stepperMotors[MOTOR_R_ID] = (StepperMotor) {
			.ID = MOTOR_R_ID,
			.allowedDir = MOTORALLOW_BOTHDIR,
			.motorState = MOTORSTATE_STOPPED,

			.TIM_CH = TIM_CHANNEL_1,	//PA6
			.TIM = &htim3,

			.enablePORT = motor_r_ENA_GPIO_Port,  //PE15
			.enablePIN = motor_r_ENA_Pin,

			.dirPORT = motor_r_DIR_GPIO_Port,		//PE12
			.dirPIN = motor_r_DIR_Pin,
	};

	//Set the COM pins to GND
	HAL_GPIO_WritePin(motor_fi_COM_GPIO_Port, motor_fi_COM_Pin, 0);
	HAL_GPIO_WritePin(motor_r_COM_GPIO_Port, motor_r_COM_Pin , 0);
	HAL_GPIO_WritePin(motor_z_COM_GPIO_Port, motor_z_COM_Pin, 0);

	//Enable all motor
	HAL_GPIO_WritePin(stepperMotors[MOTOR_R_ID].enablePORT,stepperMotors[MOTOR_R_ID].enablePIN , 1);	//enable = HIGH
	HAL_GPIO_WritePin(stepperMotors[MOTOR_Z_ID].enablePORT,stepperMotors[MOTOR_Z_ID].enablePIN , 1);	// enable = HIGH
	HAL_GPIO_WritePin(stepperMotors[MOTOR_FI_ID].enablePORT,stepperMotors[MOTOR_FI_ID].enablePIN , 0);  // enable = GND

	//HOMING ----------------------------------------------------------------------------//
	if(!homing_state){
		error_byte = startAllMotor(stepperMotors, MOTORDIR_NEGATIVE);
		//Only run if the arm is not homed
		if(!error_byte){
			//waiting untill all of the motors has reached their limit
			while((GPIO_PIN_SET != limit_switches[fi_null]) || (GPIO_PIN_SET != limit_switches[z_null]) || (GPIO_PIN_SET != limit_switches[r_null])){

				//FI axis check
				if(GPIO_PIN_SET == limit_switches[fi_null]){
					stopMotor(stepperMotors, MOTOR_FI_ID);
				}

				//Z axis check
				if(GPIO_PIN_SET == limit_switches[z_null]){
					stopMotor(stepperMotors, MOTOR_Z_ID);
				}

				//R axis check
				if(GPIO_PIN_SET == limit_switches[r_null]){
					stopMotor(stepperMotors, MOTOR_R_ID);
				}
			}
			homing_state = 1;
		}
		else {
			//Error_Handler();
			for(;;){}
		}
	}

	//START CONTROL TASK -----------------------------------------------------------------------//
	/* Infinite contol loop */
	for(;;)
	{
		//Switching beetwin modes
		if(task_flag){
			vTaskResume(demoMoveHandle);
			vTaskSuspend(NULL);
		}

		//R axis
		controlMotor_viaGPIO(
			limit_switches,
			motor_r_positive_button_GPIO_Port, motor_r_positive_button_Pin,
			motor_r_negative_button_GPIO_Port, motor_r_negative_button_Pin,
			stepperMotors, MOTOR_R_ID
		);

		//FI axis
		controlMotor_viaGPIO(
			limit_switches,
			motor_fi_positive_button_GPIO_Port, motor_fi_positive_button_Pin,
			motor_fi_negative_button_GPIO_Port, motor_fi_negative_button_Pin,
			stepperMotors, MOTOR_FI_ID
		);

		//Z axis
		controlMotor_viaGPIO(
			limit_switches,
			motor_z_positive_button_GPIO_Port, motor_z_positive_button_Pin,
			motor_z_negative_button_GPIO_Port, motor_z_negative_button_Pin,
			stepperMotors, MOTOR_Z_ID
		);
	}
  /* USER CODE END fc_control_viaGPIO */
}

/* USER CODE BEGIN Header_fc_demoMove */
/**
* @brief Function implementing the demoMove thread.
* @param argument: Pointer to the array of the stepper motors
* @retval None
*
* It implements a demo program: the arm moves on a hard-coded route endlessly.
* I tried to desing the rout to stay completely over the table, so people who are passing by won't hit the arm.
* However I strongly recommend to keep an eye on it while it's moving, because dropping Karcsi on the ground wouldn't be so funny :)
*/
/* USER CODE END Header_fc_demoMove */
void fc_demoMove(void const * argument)
{
  /* USER CODE BEGIN fc_demoMove */

	//LIMIT SWITCH INIT --------------------------------------------------------------//
	limit_switches[1] = HAL_GPIO_ReadPin(limswitch_fi_max_GPIO_Port, limswitch_fi_max_Pin);
	limit_switches[2] = HAL_GPIO_ReadPin(limswich_fi_null_GPIO_Port, limswich_fi_null_Pin);
	limit_switches[3] = HAL_GPIO_ReadPin(limswitch_z_max_GPIO_Port, limswitch_z_max_Pin);
	limit_switches[4] = HAL_GPIO_ReadPin(limswitch_z_null_GPIO_Port, limswitch_z_null_Pin);
	limit_switches[5] = HAL_GPIO_ReadPin(limswitch_r_max_GPIO_Port, limswitch_r_max_Pin);
	limit_switches[6] = HAL_GPIO_ReadPin(limswitch_r_null_GPIO_Port, limswitch_r_null_Pin);

	//MOTOR INIT ------------------------------------------------------------------//
	StepperMotor* stepperMotors = (StepperMotor*)argument;
	stepperMotors[MOTOR_FI_ID] = (StepperMotor) {
			.ID = MOTOR_FI_ID,
			.allowedDir = MOTORALLOW_BOTHDIR,
			.motorState = MOTORSTATE_STOPPED,

			.TIM_CH = TIM_CHANNEL_2,	//PE11
			.TIM = &htim1,

			.enablePORT = motor_fi_ENA_GPIO_Port,  //PC11
			.enablePIN = motor_fi_ENA_Pin,

			.dirPORT = motor_fi_DIR_GPIO_Port,	//PC8
			.dirPIN = motor_fi_DIR_Pin,
	};
	stepperMotors[MOTOR_Z_ID] = (StepperMotor) {
			.ID = MOTOR_Z_ID,
			.allowedDir = MOTORALLOW_BOTHDIR,
			.motorState = MOTORSTATE_STOPPED,

			.TIM_CH = TIM_CHANNEL_1,	//PA0
			.TIM = &htim2,

			.enablePORT = motor_z_ENA_GPIO_Port,	//PC14
			.enablePIN = motor_z_ENA_Pin,

			.dirPORT = motor_z_DIR_GPIO_Port,	//PC13
			.dirPIN = motor_z_DIR_Pin,
	};
	stepperMotors[MOTOR_R_ID] = (StepperMotor) {
			.ID = MOTOR_R_ID,
			.allowedDir = MOTORALLOW_BOTHDIR,
			.motorState = MOTORSTATE_STOPPED,

			.TIM_CH = TIM_CHANNEL_1,	//PA6
			.TIM = &htim3,

			.enablePORT = motor_r_ENA_GPIO_Port,  //PE15
			.enablePIN = motor_r_ENA_Pin,

			.dirPORT = motor_r_DIR_GPIO_Port,		//PE12
			.dirPIN = motor_r_DIR_Pin,
	};

	//Set the COM pins to GND
	HAL_GPIO_WritePin(motor_fi_COM_GPIO_Port, motor_fi_COM_Pin, 0);
	HAL_GPIO_WritePin(motor_r_COM_GPIO_Port, motor_r_COM_Pin , 0);
	HAL_GPIO_WritePin(motor_z_COM_GPIO_Port, motor_z_COM_Pin, 0);

	//Enable all motor
	HAL_GPIO_WritePin(stepperMotors[MOTOR_R_ID].enablePORT,stepperMotors[MOTOR_R_ID].enablePIN , 1);	//enable = HIGH
	HAL_GPIO_WritePin(stepperMotors[MOTOR_Z_ID].enablePORT,stepperMotors[MOTOR_Z_ID].enablePIN , 1);	// enable = HIGH
	HAL_GPIO_WritePin(stepperMotors[MOTOR_FI_ID].enablePORT,stepperMotors[MOTOR_FI_ID].enablePIN , 0);  // enable = GND

	HAL_GPIO_WritePin(GreenLed_LD3_GPIO_Port, GreenLed_LD3_Pin, 1);

	//HOMING ----------------------------------------------------------------------------//
		if(!homing_state){
			error_byte = startAllMotor(stepperMotors, MOTORDIR_NEGATIVE);
			//Only run if the arm is not homed
			if(!error_byte){
				uint8_t z = 0, fi = 0, r = 0;
				//waiting untill all of the motors has reached their limit
				while(!(r && fi && z)){
					//FI axis check
					if(GPIO_PIN_SET == limit_switches[fi_null]){
						stopMotor(stepperMotors, MOTOR_FI_ID);
						fi = 1;
					}

					//Z axis check
					if(GPIO_PIN_SET == limit_switches[z_null]){
						stopMotor(stepperMotors, MOTOR_Z_ID);
						z = 1;
					}

					//R axis check
					if(GPIO_PIN_SET == limit_switches[r_null]){
						stopMotor(stepperMotors, MOTOR_R_ID);
						r = 1;
					}
				}
				homing_state = 1;
			}
			else {
				Error_Handler();
			}
		}

	ToolPosition next_pos = (ToolPosition){.fi = 0, .z = 0, .r = 0};
	uint32_t z_steps_to_make = 0, r_steps_to_make = 0, fi_steps_to_make = 0;
	uint32_t z_tmp = 0, r_tmp = 0, fi_tmp = 0;
	uint8_t z = 0, fi = 0, r = 0;
	/* Infinite control loop */
	for(;;)
	{
		//Switching beetwin modes
		if(!task_flag){
			vTaskResume(control_viaGPIOHandle);
			vTaskSuspend(NULL);
		}

		if(xQueueReceive(demoMove_positionsHandle, (void*)&next_pos, 1)){

			setAllMotorDirTowardsDesiredPos(stepperMotors, current_position, next_pos);

			z_steps_to_make = absVal((int32_t)next_pos.z - (int32_t)current_position.z);
			r_steps_to_make = absVal((int32_t)next_pos.r - (int32_t)current_position.r);
			fi_steps_to_make = absVal((int32_t)next_pos.fi - (int32_t)current_position.fi);

			z_tmp = current_position.z;
			r_tmp = current_position.r;
			fi_tmp = current_position.fi;

			startMotor(stepperMotors, MOTOR_FI_ID, stepperMotors[MOTOR_FI_ID].dir);
			startMotor(stepperMotors, MOTOR_R_ID, stepperMotors[MOTOR_R_ID].dir);
			startMotor(stepperMotors, MOTOR_Z_ID, stepperMotors[MOTOR_Z_ID].dir);
			while(!(r && fi && z)){
				if((fi_steps_to_make <= absVal((int32_t)(fi_tmp - current_position.fi))) || (limit_switches[fi_max] && MOTORDIR_POSITIVE == stepperMotors[MOTOR_FI_ID].dir) || (limit_switches[fi_null] && MOTORDIR_NEGATIVE == stepperMotors[MOTOR_FI_ID].dir)){
					stopMotor(stepperMotors, MOTOR_FI_ID);
					fi = 1;
				}
				if((z_steps_to_make <= absVal((int32_t)(z_tmp - current_position.z))) || (limit_switches[z_max] && MOTORDIR_POSITIVE == stepperMotors[MOTOR_Z_ID].dir) || (limit_switches[z_null] && MOTORDIR_NEGATIVE == stepperMotors[MOTOR_Z_ID].dir)){
					stopMotor(stepperMotors, MOTOR_Z_ID);
					z = 1;
				}
				if((r_steps_to_make <= absVal((int32_t)(r_tmp - current_position.r))) || (limit_switches[r_max] && MOTORDIR_POSITIVE == stepperMotors[MOTOR_R_ID].dir) || (limit_switches[r_null] && MOTORDIR_NEGATIVE == stepperMotors[MOTOR_R_ID].dir)){
					stopMotor(stepperMotors, MOTOR_R_ID);
					r = 1;
				}
			}
			osDelay(1000);
			r = z = fi = 0;
		}
		 xQueueSend(demoMove_positionsHandle, (void*)&next_pos, 0);
	}
  /* USER CODE END fc_demoMove */
}

void HAL_TIM_PeriodElapsedCallback(TIM_HandleTypeDef *htim)
{
  if (htim->Instance == TIM6) {
    HAL_IncTick();
  }
}

/**
  * @brief  This function is executed in case of HOMING error.
  * @retval None
  *
  * If the homing sequence in the beginning of the tasks cannot start, this handler drives the task into and tendless loop.
  * Also, all of the HAL functions call this handler in case of error.
  */
void Error_Handler(void)
{
  __disable_irq();
  while (1)
  {
  }
}
